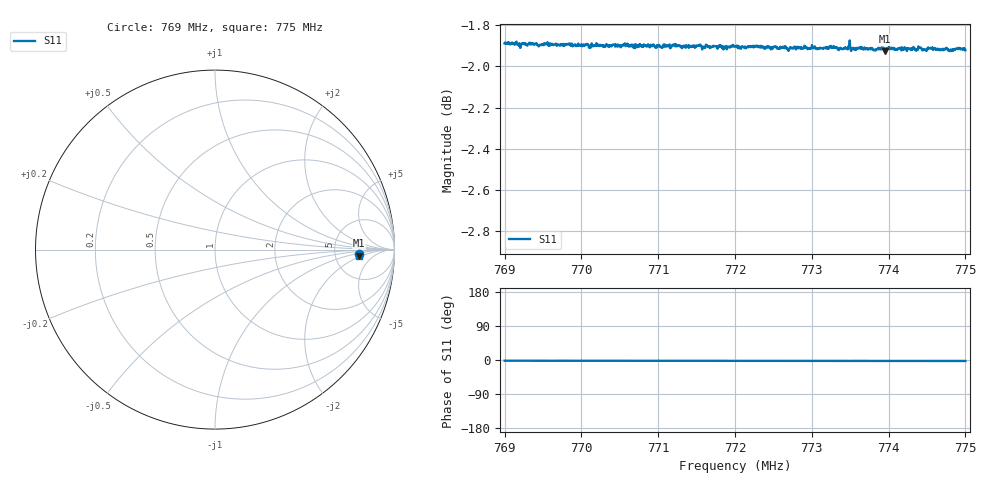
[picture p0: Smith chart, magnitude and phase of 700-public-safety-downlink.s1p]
! Calibrated averaged scanner-service zoom
# Hz S RI R 50
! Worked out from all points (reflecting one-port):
!   1001 points, 769 MHz to 775 MHz, reference 50 ohm
!   lowest |S11| = -1.9 dB at 773.95 MHz (marker M1), VSWR 9.06, Z = 437 - j81.8 ohm
!   phase of S11 starts at -2 deg and turns -1 deg over the sweep
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7.69e8  0.8042 -0.0268
7.6975e8  0.8033 -0.0281
7.705e8  0.8029 -0.0292
7.70728e8  0.8027 -0.0303
7.70866e8  0.8037 -0.0299
7.7125e8  0.8029 -0.0301
7.71358e8  0.8021 -0.0312
7.71532e8  0.8031 -0.0309
7.71586e8  0.8023 -0.0312
7.71718e8  0.8029 -0.0313
7.71862e8  0.8019 -0.0312
7.72e8  0.8027 -0.0317
7.72222e8  0.8028 -0.0319
7.723e8  0.8023 -0.0319
7.72702e8  0.8009 -0.0329
7.7275e8  0.802 -0.0329
7.73266e8  0.8023 -0.0329
7.73374e8  0.802 -0.0333
7.735e8  0.802 -0.0336
7.73542e8  0.8019 -0.0338
7.7395e8  0.8004 -0.0335
7.7425e8  0.8018 -0.0352
7.744e8  0.802 -0.0351
7.74466e8  0.8013 -0.0345
7.74526e8  0.8016 -0.0362
7.74604e8  0.8015 -0.0354
7.74682e8  0.8011 -0.0356
7.75e8  0.8007 -0.036
